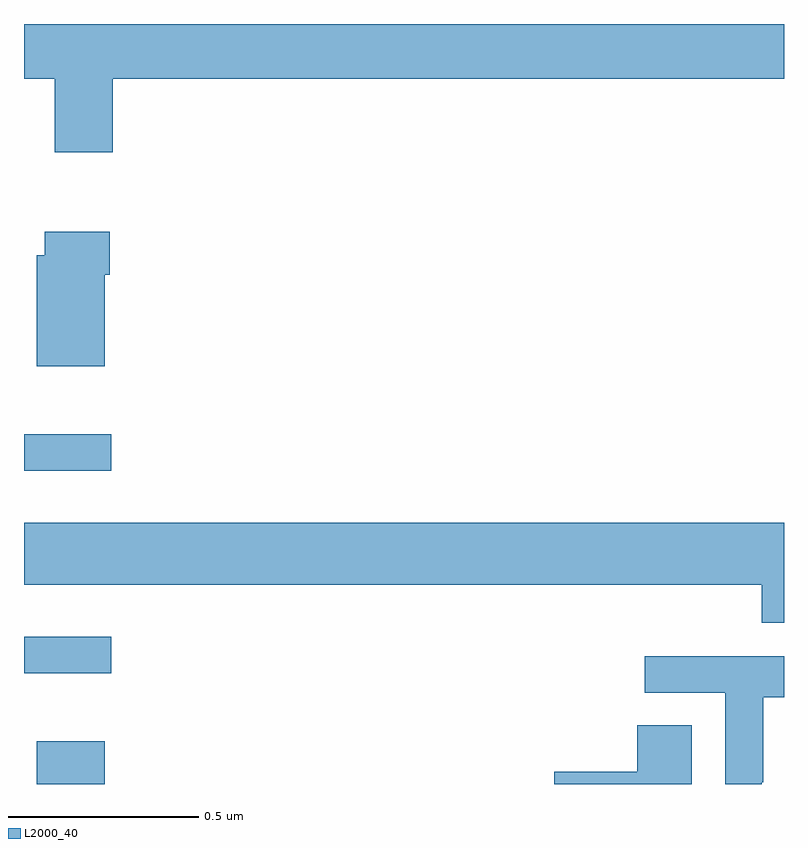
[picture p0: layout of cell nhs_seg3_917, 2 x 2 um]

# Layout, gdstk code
import gdstk
lib = gdstk.Library(unit=1e-6, precision=1e-09)
def R(c, l, rs):  # rectangles x0, y0, x1, y1
    for r in rs: c.add(gdstk.rectangle(r[:2], r[2:], *l))
def P(c, l, *ps):  # polygons
    for p in ps: c.add(gdstk.Polygon(p, *l))
L2000_40 = (2000, 40)

nhs_seg3_917 = lib.new_cell('nhs_seg3_917')
R(nhs_seg3_917, L2000_40, [(122.033,692.4,122.212,692.512), (122,692.691,122.23,692.788), (122,693.224,122.23,693.321)])
P(nhs_seg3_917, L2000_40, [(122.234,694.256),(124,694.256),(124,694.4),(122,694.4),(122,694.256),(122.081,694.256),(122.081,694.062),(122.234,694.062)],
  [(122.212,693.74),(122.225,693.74),(122.225,693.853),(122.054,693.853),(122.054,693.792),(122.033,693.792),(122.033,693.5),(122.212,693.5)],
  [(124,693.088),(122,693.088),(122,692.924),(123.941,692.924),(123.941,692.825),(124,692.825)],
  [(123.942,692.404),(123.945,692.404),(123.945,692.628),(124,692.628),(124,692.736),(123.633,692.736),(123.633,692.64),(123.846,692.64),(123.846,692.4),(123.942,692.4)],
  [(123.757,692.555),(123.614,692.555),(123.614,692.432),(123.396,692.432),(123.396,692.4),(123.757,692.4)])

lib.write_gds('nhs_seg3_917.gds')
